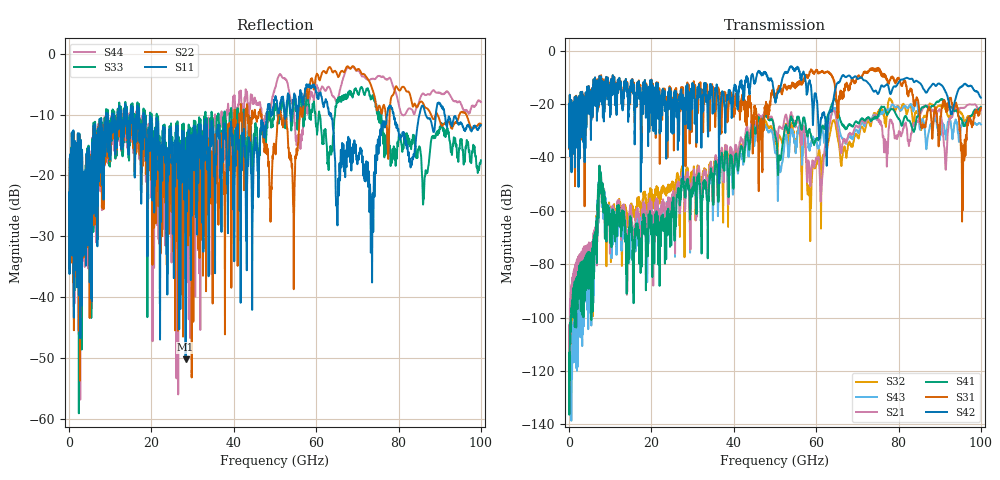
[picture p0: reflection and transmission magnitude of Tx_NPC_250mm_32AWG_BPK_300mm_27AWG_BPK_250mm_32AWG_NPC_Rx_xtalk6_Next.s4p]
! Info: Touchstone file created by Circ.  Input file=Tx_NPC_250mm_32AWG_BPK_300mm_27AWG_BPK_250mm_32AWG_NPC_Rx.circ
# Hz S RI R 50
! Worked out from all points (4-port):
!   10000 points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, 10 MHz to 100 GHz, reference 50 ohm
!   strongest paths, dB at 10 MHz, 25.01 GHz, 50.01 GHz, 75.01 GHz, 100 GHz:
!     S42: -30.6, -19.4, -18.5, -16.3, -17.6
!     S31: -30.6, -18.9, -17.1, -6.9, -21.5
!     S41: -118.9, -57.1, -31.8, -24.3, -21.2
!     S21: -120.4, -53.8, -30.6, -25.5, -22.4
!     S43: -136.1, -54.5, -38.1, -25.2, -27.7
!     S32: -121.8, -49.2, -34.6, -23.2, -21.0
!   lowest |S11| = -50.3 dB at 28.29 GHz (marker M1), VSWR 1.01, Z = 50.1 + j0.292 ohm
!   |S11| at or under -10 dB: start of sweep to 8.976 GHz; 18.12 GHz to 47.97 GHz (29.85 GHz wide, 90.3 % of centre); 63.64 GHz to 77.28 GHz (13.64 GHz wide, 19.4 % of centre) (the widest 3 of 41)
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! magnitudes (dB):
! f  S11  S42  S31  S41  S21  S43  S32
! 10 MHz  -25.7  -30.6  -30.6  -118.9  -120.4  -136.1  -121.8
! 5.64 GHz  -16.4  -16.9  -17.5  -74.0  -71.4  -80.9  -79.4
! 7.64 GHz  -16.0  -14.4  -13.9  -47.0  -47.2  -46.7  -46.6
! 14.09 GHz  -13.1  -13.3  -12.7  -80.7  -77.1  -70.5  -62.1
! 28.29 GHz  -50.3  -21.7  -27.4  -54.0  -55.0  -53.3  -49.7
! 47.62 GHz  -13.1  -8.2  -21.2  -24.4  -23.0  -28.0  -26.1
! 100 GHz  -11.7  -17.6  -21.5  -21.2  -22.4  -27.7  -21.0
